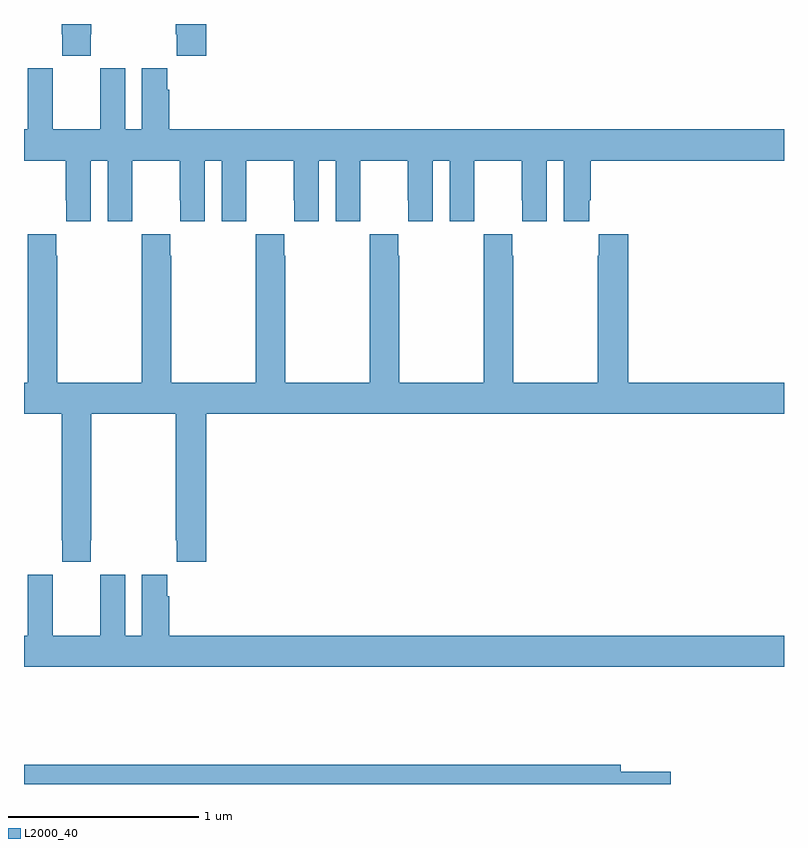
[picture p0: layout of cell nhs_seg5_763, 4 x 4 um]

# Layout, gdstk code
import gdstk
lib = gdstk.Library(unit=1e-6, precision=1e-09)
def P(c, l, *ps):  # polygons
    for p in ps: c.add(gdstk.Polygon(p, *l))
L2000_40 = (2000, 40)

nhs_seg5_763 = lib.new_cell('nhs_seg5_763')
P(nhs_seg5_763, L2000_40, [(159.351,870.745),(159.354,870.745),(159.354,870.799),(159.199,870.799),(159.199,870.745),(159.201,870.745),(159.201,870.633),(159.351,870.633)],
  [(159.959,870.799),(159.799,870.799),(159.799,870.745),(159.805,870.745),(159.805,870.633),(159.959,870.633)],
  [(159.352,870.08),(159.44,870.08),(159.44,869.76),(159.57,869.76),(159.57,869.872),(159.571,869.872),(159.571,870.08),(159.821,870.08),(159.821,869.872),(159.822,869.872),(159.822,869.76),(159.952,869.76),(159.952,870.08),(160.04,870.08),(160.04,869.76),(160.17,869.76),(160.17,869.872),(160.171,869.872),(160.171,870.08),(160.421,870.08),(160.421,869.872),(160.422,869.872),(160.422,869.76),(160.552,869.76),(160.552,870.08),(160.64,870.08),(160.64,869.76),(160.77,869.76),(160.77,869.872),(160.771,869.872),(160.771,870.08),(161.021,870.08),(161.021,869.872),(161.022,869.872),(161.022,869.76),(161.152,869.76),(161.152,870.08),(161.24,870.08),(161.24,869.76),(161.37,869.76),(161.37,869.872),(161.371,869.872),(161.371,870.08),(161.621,870.08),(161.621,869.872),(161.622,869.872),(161.622,869.76),(161.752,869.76),(161.752,870.08),(161.84,870.08),(161.84,869.76),(161.974,869.76),(161.974,869.872),(161.984,869.872),(161.984,870.08),(163,870.08),(163,870.244),(159.764,870.244),(159.764,870.452),(159.754,870.452),(159.754,870.565),(159.62,870.565),(159.62,870.244),(159.532,870.244),(159.532,870.565),(159.402,870.565),(159.402,870.452),(159.401,870.452),(159.401,870.244),(159.151,870.244),(159.151,870.452),(159.15,870.452),(159.15,870.565),(159.02,870.565),(159.02,870.244),(159,870.244),(159,870.08),(159.221,870.08),(159.221,869.872),(159.222,869.872),(159.222,869.76),(159.352,869.76)],
  [(159.351,868.081),(159.354,868.081),(159.354,868.748),(159.799,868.748),(159.799,868.081),(159.805,868.081),(159.805,867.969),(159.959,867.969),(159.959,868.748),(163,868.748),(163,868.912),(162.179,868.912),(162.179,869.692),(162.025,869.692),(162.025,869.579),(162.019,869.579),(162.019,868.912),(161.574,868.912),(161.574,869.579),(161.571,869.579),(161.571,869.692),(161.421,869.692),(161.421,869.579),(161.419,869.579),(161.419,868.912),(160.974,868.912),(160.974,869.579),(160.971,869.579),(160.971,869.692),(160.821,869.692),(160.821,869.579),(160.819,869.579),(160.819,868.912),(160.374,868.912),(160.374,869.579),(160.371,869.579),(160.371,869.692),(160.221,869.692),(160.221,869.579),(160.219,869.579),(160.219,868.912),(159.774,868.912),(159.774,869.579),(159.771,869.579),(159.771,869.692),(159.621,869.692),(159.621,869.579),(159.619,869.579),(159.619,868.912),(159.174,868.912),(159.174,869.579),(159.171,869.579),(159.171,869.692),(159.021,869.692),(159.021,869.579),(159.019,869.579),(159.019,868.912),(159,868.912),(159,868.748),(159.199,868.748),(159.199,868.081),(159.201,868.081),(159.201,867.969),(159.351,867.969)],
  [(163,867.58),(159.764,867.58),(159.764,867.788),(159.754,867.788),(159.754,867.901),(159.62,867.901),(159.62,867.58),(159.532,867.58),(159.532,867.901),(159.402,867.901),(159.402,867.788),(159.401,867.788),(159.401,867.58),(159.151,867.58),(159.151,867.788),(159.15,867.788),(159.15,867.901),(159.02,867.901),(159.02,867.58),(159,867.58),(159,867.416),(163,867.416)],
  [(162.403,866.864),(162.142,866.864),(162.142,866.9),(159,866.9),(159,866.799),(162.403,866.799)])

lib.write_gds('nhs_seg5_763.gds')
